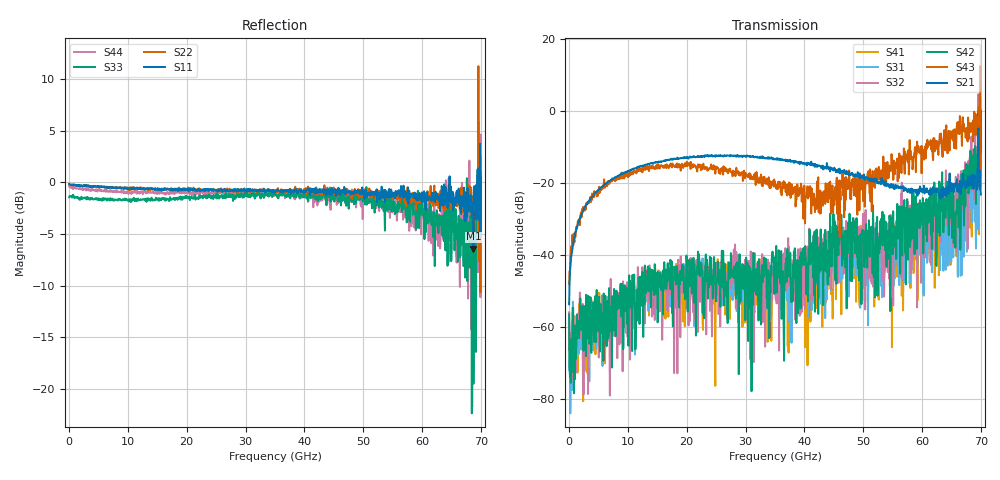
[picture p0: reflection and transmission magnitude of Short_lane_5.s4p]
!Pstart = -2.000000E+001
!Pstop = -1.000000E+001
!Pstep = 2.564103E-001
! 4/30/2026 12:46:24 PM
! C:\ANRITSUVNA\TEMP\TEMP.S4P
! CHANNEL.1
! TR.MEASUREMENT
! CORRECTED.DATA
! RF.CORRECTION: FULL.FOUR.PORT.CAL.PORT.1.2.3.4
! AVERAGING.OFF
! IF.BANDWIDTH: 100HZ
! SWEEPTYPE:  FREQ.SWEEP(Linear)
! Reference Plane Port Info
! DISTANCE:  0  m  0  m  0  m  0  m
! TIME:  0  s  0  s  0  s  0  s
! PHASE.OFFSET:  0 °  0 °  0 °  0 °
! LOSS:  0  dB  0  dB  0  dB  0  dB
! REF.LOSS:  0  dB  0  dB  0  dB  0  dB
! REF.FREQ:  0  Hz  0  Hz  0  Hz  0  Hz
! Power Info
! POWER:  -20  dBm  -20  dBm  -20  dBm  -20  dBm
! EFF.POWER:  -20  dBm  -20  dBm  -40  dBm  -40  dBm
! SOURCE.ATTEN:  0  dB  0  dB  20  dB  20  dB
! TEST.ATTEN:  0  dB  0  dB  20  dB  20  dB
! Created with skrf 1.9.0 (http://scikit-rf.org).
# Hz S RI R 50.0
!freq ReS11 ImS11 ReS12 ImS12 ReS13 ImS13
! ReS14 ImS14
! ReS21 ImS21 ReS22 ImS22 ReS23 ImS23
! ReS24 ImS24
! ReS31 ImS31 ReS32 ImS32 ReS33 ImS33
! ReS34 ImS34
! ReS41 ImS41 ReS42 ImS42 ReS43 ImS43
! ReS44 ImS44
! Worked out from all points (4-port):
!   1001 points, 10 MHz to 70 GHz, reference 50 ohm
!   strongest paths, dB at 10 MHz, 17.51 GHz, 35.01 GHz, 52.5 GHz, 70 GHz:
!     S21: -53.6, -13.6, -13.5, -19.7, -23.2
!     S43: -47.9, -15.7, -19.7, -17.0, -18.1
!     S42: -56.4, -56.0, -49.2, -40.0, 0.1
!     S32: -56.0, -44.5, -47.9, -34.0, -21.0
!     S31: -55.8, -51.1, -49.4, -40.2, -18.3
!     S41: -59.1, -46.1, -46.2, -45.4, -18.2
!   lowest |S11| = -6.4 dB at 68.74 GHz (marker M1), VSWR 2.82, Z = 103 + j57.2 ohm
!   |S11| at or under -10 dB: nowhere
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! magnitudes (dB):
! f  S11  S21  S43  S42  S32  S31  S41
! 10 MHz  -0.1  -53.6  -47.9  -56.4  -56.0  -55.8  -59.1
! 3.16 GHz  -0.3  -25.5  -25.8  -59.7  -58.8  -64.1  -58.5
! 13.8 GHz  -0.6  -14.5  -15.4  -44.6  -46.6  -48.7  -50.0
! 38.85 GHz  -1.1  -14.4  -20.9  -41.4  -46.3  -47.4  -44.8
! 65.73 GHz  -1.5  -20.7  -8.1  -29.1  -18.3  -26.5  -33.4
! 68.74 GHz  -6.4  -21.7  -2.5  -17.8  -20.1  -26.9  -23.9
! 70 GHz  0.5  -23.2  -18.1  0.1  -21.0  -18.3  -18.2
